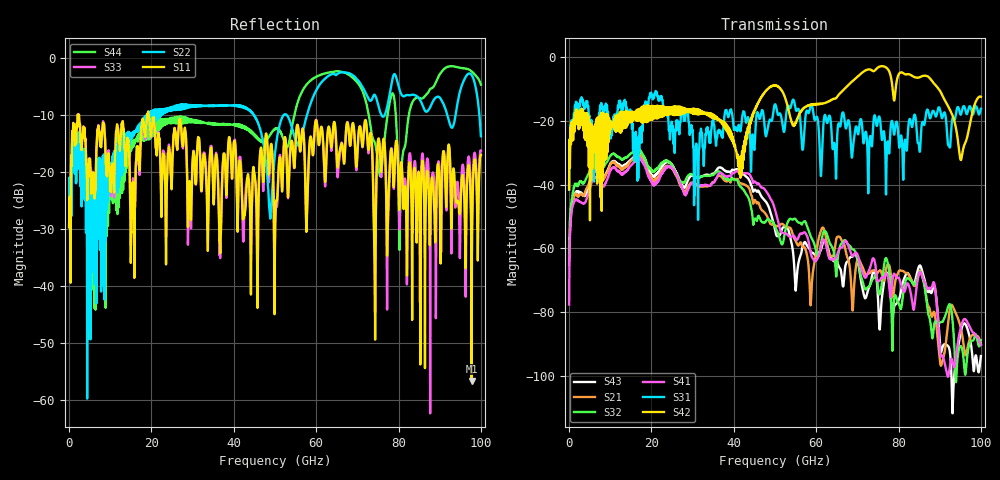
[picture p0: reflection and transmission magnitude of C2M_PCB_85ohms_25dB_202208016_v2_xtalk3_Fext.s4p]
! Info: Touchstone file created by Circ.  Input file=Intel_C2M_200G_10p5in_202208016_staggered.circ
# Hz S RI R 50
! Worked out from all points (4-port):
!   10000 points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, 10 MHz to 100 GHz, reference 50 ohm
!   strongest paths, dB at 10 MHz, 25.01 GHz, 50.01 GHz, 75.01 GHz, 100 GHz:
!     S42: -41.5, -17.6, -8.9, -3.3, -12.5
!     S31: -41.6, -21.9, -14.8, -19.8, -16.2
!     S41: -77.6, -34.9, -47.9, -70.3, -90.3
!     S32: -59.3, -33.9, -53.1, -72.4, -88.8
!     S21: -62.4, -35.0, -52.9, -67.6, -90.0
!     S43: -65.1, -33.8, -54.1, -75.6, -93.8
!   lowest |S11| = -56.6 dB at 97.76 GHz (marker M1), VSWR 1.00, Z = 50.1 - j0.0533 ohm
!   |S11| at or under -10 dB: start of sweep to 2.098 GHz; 2.392 GHz to 18.92 GHz (16.53 GHz wide, 155 % of centre); 19.3 GHz to end of sweep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
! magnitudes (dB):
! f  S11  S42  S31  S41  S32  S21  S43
! 10 MHz  -29.5  -41.5  -41.6  -77.6  -59.3  -62.4  -65.1
! 16.95 GHz  -17.8  -18.9  -25.3  -32.0  -29.1  -30.9  -30.5
! 41.45 GHz  -18.0  -31.7  -22.5  -36.4  -40.4  -39.4  -36.1
! 58.72 GHz  -13.8  -14.9  -15.3  -61.7  -56.3  -77.0  -61.0
! 80.34 GHz  -22.2  -5.0  -27.0  -70.1  -78.4  -66.9  -75.0
! 97.76 GHz  -56.6  -18.3  -17.0  -85.9  -89.0  -87.4  -91.7
! 100 GHz  -16.9  -12.5  -16.2  -90.3  -88.8  -90.0  -93.8
